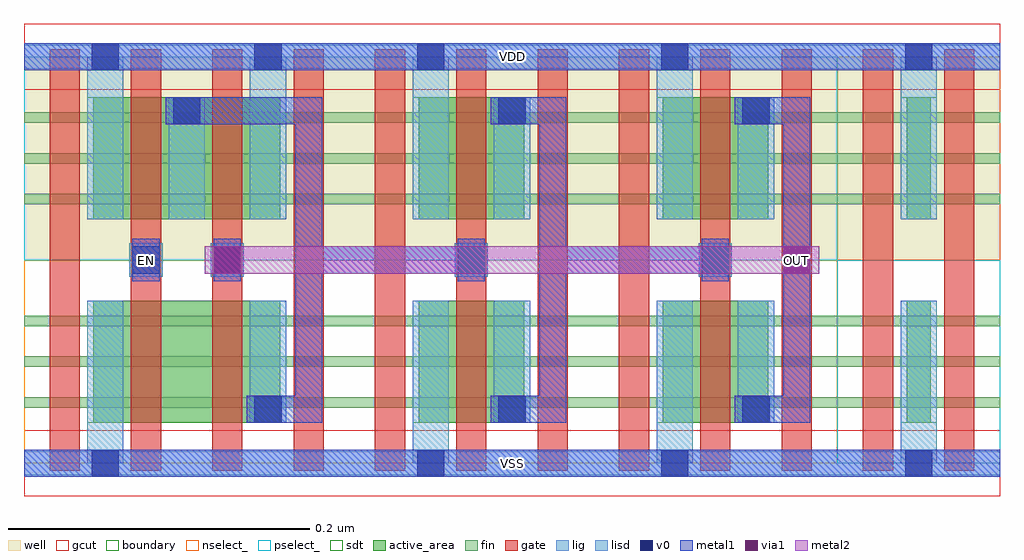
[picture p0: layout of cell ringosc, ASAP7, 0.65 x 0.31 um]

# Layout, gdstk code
import gdstk
lib = gdstk.Library(unit=1e-6, precision=2.5e-10)
def R(c, l, rs):  # rectangles x0, y0, x1, y1
    for r in rs: c.add(gdstk.rectangle(r[:2], r[2:], *l))
def A(c, l, x, y, w, h, nx, ny, dx, dy):  # array of equal rectangles
    R(c, l, [(x+i*dx, y+j*dy, x+i*dx+w, y+j*dy+h) for i in range(nx) for j in range(ny)])
well = (1, 0)
fin = (2, 0)
gate = (7, 0)
gcut = (10, 0)
active_area = (11, 0)
nselect_ = (12, 0)
pselect_ = (13, 0)
lig = (16, 0)
lisd = (17, 0)
v0 = (18, 0)
metal1 = (19, 0)
metal2 = (20, 0)
via1 = (21, 0)
sdt = (88, 0)
boundary = (100, 0)

ringosc = lib.new_cell('ringosc')
R(ringosc, well, [(0,0.135,0.216,0.27), (0,0.135,0.648,0.27), (0.216,0.135,0.378,0.27), (0.378,0.135,0.54,0.27), (0.54,0.135,0.648,0.27)])
A(ringosc, fin, 0, 0.037, 0.216, 0.007, 1, 3, 0, 0.027)
A(ringosc, fin, 0.216, 0.037, 0.162, 0.007, 1, 3, 0, 0.027)
A(ringosc, fin, 0.378, 0.037, 0.162, 0.007, 1, 3, 0, 0.027)
A(ringosc, fin, 0.54, 0.037, 0.108, 0.007, 1, 3, 0, 0.027)
A(ringosc, fin, 0, 0.172, 0.216, 0.007, 1, 3, 0, 0.027)
A(ringosc, fin, 0.216, 0.172, 0.162, 0.007, 1, 3, 0, 0.027)
A(ringosc, fin, 0.378, 0.172, 0.162, 0.007, 1, 3, 0, 0.027)
A(ringosc, fin, 0.54, 0.172, 0.108, 0.007, 1, 3, 0, 0.027)
A(ringosc, gate, 0.017, -0.005, 0.02, 0.14, 12, 2, 0.054, 0.14)
R(ringosc, gcut, [(0,-0.022,0.648,0.022), (0,0.248,0.648,0.292)])
R(ringosc, active_area, [(0.046,0.027,0.17,0.108), (0.262,0.027,0.332,0.108), (0.424,0.027,0.494,0.108), (0.586,0.027,0.602,0.108), (0.046,0.162,0.17,0.243), (0.262,0.162,0.332,0.243), (0.424,0.162,0.494,0.243), (0.586,0.162,0.602,0.243)])
R(ringosc, nselect_, [(0,0,0.216,0.135), (0.216,0,0.378,0.135), (0.378,0,0.54,0.135), (0.54,0.135,0.648,0.27)])
R(ringosc, pselect_, [(0.54,0,0.648,0.135), (0,0.135,0.216,0.27), (0.216,0.135,0.378,0.27), (0.378,0.135,0.54,0.27)])
A(ringosc, lig, 0.124, 0.124, 0.022, 0.022, 3, 1, 0.162, 0)
R(ringosc, lig, [(0,-0.008,0.648,0.008), (0.07,0.124,0.092,0.146), (0,0.262,0.648,0.278)])
A(ringosc, lisd, 0.258, 0, 0.024, 0.108, 3, 1, 0.162, 0)
A(ringosc, lisd, 0.042, 0.027, 0.024, 0.081, 3, 1, 0.108, 0)
A(ringosc, lisd, 0.042, 0.162, 0.024, 0.081, 3, 1, 0.054, 0)
A(ringosc, lisd, 0.042, 0.162, 0.024, 0.108, 3, 1, 0.108, 0)
R(ringosc, lisd, [(0.042,0,0.066,0.108), (0.312,0.027,0.336,0.108), (0.42,0.027,0.444,0.108), (0.474,0.027,0.498,0.108), (0.582,0.027,0.606,0.108), (0.258,0.162,0.282,0.243), (0.312,0.162,0.336,0.243), (0.42,0.162,0.444,0.243), (0.42,0.162,0.444,0.27), (0.474,0.162,0.498,0.243), (0.582,0.162,0.606,0.243), (0.582,0.162,0.606,0.27)])
A(ringosc, v0, 0.261, -0.009, 0.018, 0.018, 3, 1, 0.162, 0)
A(ringosc, v0, 0.153, 0.027, 0.018, 0.018, 3, 1, 0.162, 0)
A(ringosc, v0, 0.126, 0.126, 0.018, 0.018, 3, 1, 0.162, 0)
A(ringosc, v0, 0.045, 0.261, 0.018, 0.018, 3, 1, 0.108, 0)
R(ringosc, v0, [(0.045,-0.009,0.063,0.009), (0.072,0.126,0.09,0.144), (0.099,0.225,0.117,0.243), (0.315,0.225,0.333,0.243), (0.477,0.225,0.495,0.243), (0.423,0.261,0.441,0.279), (0.585,0.261,0.603,0.279)])
A(ringosc, metal1, 0.256, -0.009, 0.028, 0.018, 3, 1, 0.162, 0)
A(ringosc, metal1, 0.148, 0.027, 0.028, 0.018, 3, 1, 0.162, 0)
A(ringosc, metal1, 0.148, 0.027, 0.05, 0.018, 3, 1, 0.162, 0)
A(ringosc, metal1, 0.18, 0.027, 0.018, 0.216, 3, 1, 0.162, 0)
A(ringosc, metal1, 0.126, 0.121, 0.018, 0.028, 3, 1, 0.162, 0)
A(ringosc, metal1, 0.04, 0.261, 0.028, 0.018, 3, 1, 0.108, 0)
R(ringosc, metal1, [(0,-0.009,0.648,0.009), (0.04,-0.009,0.068,0.009), (0.072,0.121,0.09,0.149), (0.18,0.126,0.306,0.144), (0.342,0.126,0.468,0.144), (0.094,0.225,0.122,0.243), (0.094,0.225,0.198,0.243), (0.31,0.225,0.338,0.243), (0.31,0.225,0.36,0.243), (0.472,0.225,0.5,0.243), (0.472,0.225,0.522,0.243), (0,0.261,0.648,0.279), (0.418,0.261,0.446,0.279), (0.58,0.261,0.608,0.279)])
R(ringosc, metal2, [(0.12,0.126,0.15,0.144), (0.12,0.126,0.528,0.144), (0.498,0.126,0.528,0.144)])
R(ringosc, via1, [(0.126,0.126,0.144,0.144), (0.504,0.126,0.522,0.144)])
A(ringosc, sdt, 0.042, 0.027, 0.024, 0.081, 3, 1, 0.108, 0)
A(ringosc, sdt, 0.042, 0.162, 0.024, 0.081, 3, 1, 0.054, 0)
R(ringosc, sdt, [(0.312,0.027,0.336,0.108), (0.42,0.027,0.444,0.108), (0.474,0.027,0.498,0.108), (0.582,0.027,0.606,0.108), (0.258,0.162,0.282,0.243), (0.312,0.162,0.336,0.243), (0.42,0.162,0.444,0.243), (0.474,0.162,0.498,0.243), (0.582,0.162,0.606,0.243)])
R(ringosc, boundary, [(0,0,0.648,0.27)])
ringosc.add(gdstk.Label('EN', (0.081,0.135), layer=19, texttype=251))
ringosc.add(gdstk.Label('OUT', (0.513,0.135), layer=19, texttype=251))
ringosc.add(gdstk.Label('VDD', (0.324,0.27), layer=19, texttype=251))
ringosc.add(gdstk.Label('VSS', (0.324,0), layer=19, texttype=251))

lib.write_gds('ringosc.gds')
